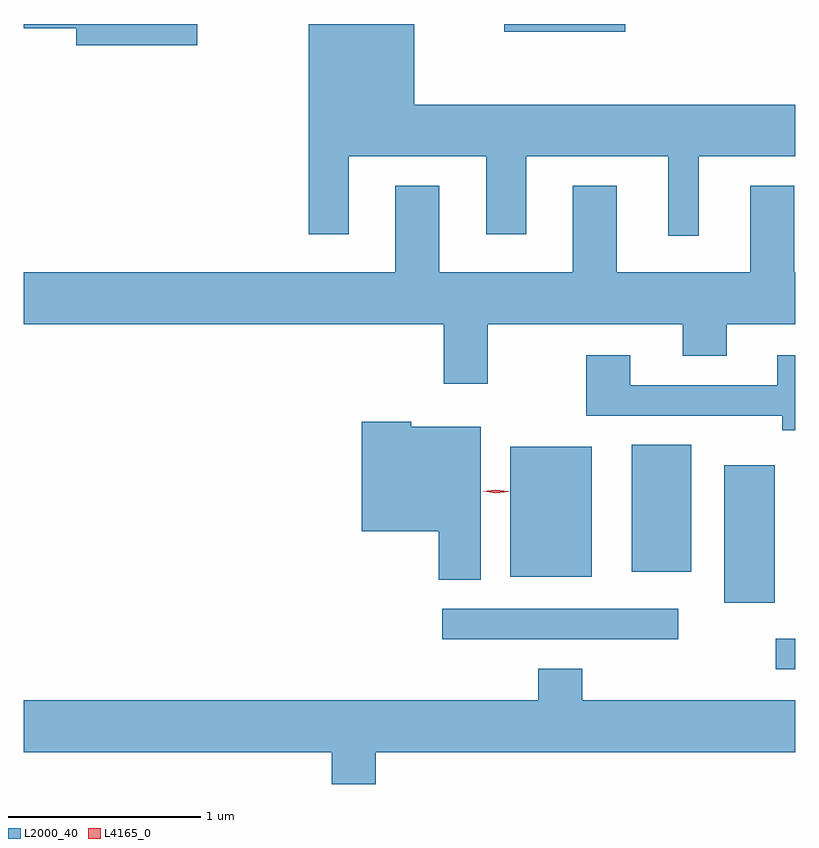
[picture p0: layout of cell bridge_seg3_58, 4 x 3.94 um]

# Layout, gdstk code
import gdstk
lib = gdstk.Library(unit=1e-6, precision=1e-09)
def R(c, l, rs):  # rectangles x0, y0, x1, y1
    for r in rs: c.add(gdstk.rectangle(r[:2], r[2:], *l))
def P(c, l, *ps):  # polygons
    for p in ps: c.add(gdstk.Polygon(p, *l))
L2000_40 = (2000, 40)
L4165_0 = (4165, 0)

bridge_seg3_58 = lib.new_cell('bridge_seg3_58')
R(bridge_seg3_58, L2000_40, [(1170.903,1246.326,1171.004,1246.484), (1169.173,1246.481,1170.398,1246.639), (1170.636,1246.671,1170.899,1247.384), (1169.526,1246.806,1169.949,1247.479), (1170.156,1246.831,1170.464,1247.489), (1169.496,1249.631,1170.124,1249.672)])
P(bridge_seg3_58, L2000_40, [(1170.504,1248.986),(1171.004,1248.986),(1171.004,1249.254),(1169.029,1249.254),(1169.029,1249.672),(1168.481,1249.672),(1168.481,1248.581),(1168.689,1248.581),(1168.689,1248.986),(1169.401,1248.986),(1169.401,1248.581),(1169.609,1248.581),(1169.609,1248.986),(1170.346,1248.986),(1170.346,1248.573),(1170.504,1248.573)],
  [(1167.904,1249.672),(1167.004,1249.672),(1167.004,1249.651),(1167.276,1249.651),(1167.276,1249.561),(1167.904,1249.561)],
  [(1169.409,1248.116),(1170.421,1248.116),(1170.421,1247.951),(1170.649,1247.951),(1170.649,1248.116),(1171.004,1248.116),(1171.004,1248.384),(1170.999,1248.384),(1170.999,1248.834),(1170.771,1248.834),(1170.771,1248.384),(1170.079,1248.384),(1170.079,1248.834),(1169.851,1248.834),(1169.851,1248.384),(1169.159,1248.384),(1169.159,1248.834),(1168.931,1248.834),(1168.931,1248.384),(1167.004,1248.384),(1167.004,1248.116),(1169.181,1248.116),(1169.181,1247.806),(1169.409,1247.806)],
  [(1171.004,1247.954),(1170.911,1247.954),(1170.911,1247.799),(1170.149,1247.799),(1170.149,1247.954),(1169.921,1247.954),(1169.921,1247.641),(1170.936,1247.641),(1170.936,1247.566),(1171.004,1247.566)],
  [(1169.374,1247.584),(1169.014,1247.584),(1169.014,1247.609),(1168.756,1247.609),(1168.756,1247.041),(1169.156,1247.041),(1169.156,1246.791),(1169.374,1246.791)],
  [(1167.004,1245.896),(1168.601,1245.896),(1168.601,1245.731),(1168.829,1245.731),(1168.829,1245.896),(1171.004,1245.896),(1171.004,1246.164),(1169.899,1246.164),(1169.899,1246.329),(1169.671,1246.329),(1169.671,1246.164),(1167.004,1246.164)])
P(bridge_seg3_58, L4165_0, [(1169.45,1247.238),(1169.384,1247.248),(1169.384,1247.248),(1169.384,1247.249),(1169.45,1247.258),(1169.516,1247.248),(1169.516,1247.247),(1169.516,1247.247)])

lib.write_gds('bridge_seg3_58.gds')
